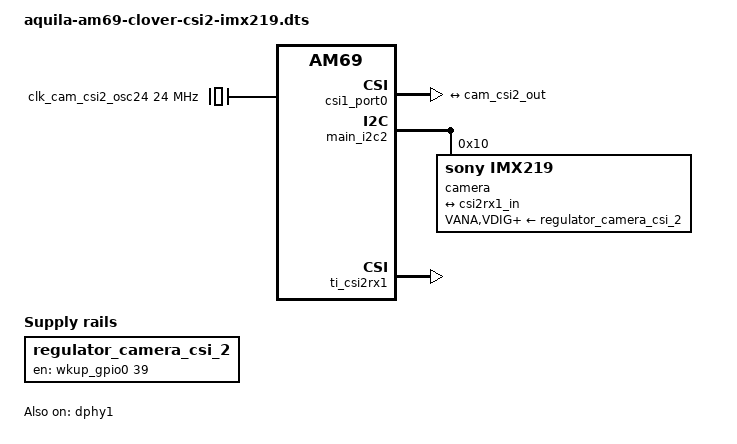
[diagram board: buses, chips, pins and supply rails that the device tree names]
// SPDX-License-Identifier: GPL-2.0-or-later OR MIT
/*
 * Aquila AM69 Clover CSI2 IMX219
 *
 */

/dts-v1/;
/plugin/;

#include <dt-bindings/gpio/gpio.h>
#include <dt-bindings/media/video-interfaces.h>

/ {
	compatible = "toradex,aquila-am69";
};

&{/} {
	clk_cam_csi2_osc24: clk-cam-csi2-osc24 {
		compatible = "fixed-clock";
		#clock-cells = <0>;
		clock-frequency = <24000000>;
	};

	regulator_camera_csi_2: regulator-camera-csi-2 {
		compatible = "regulator-fixed";
		pinctrl-names = "default";
		pinctrl-0 = <&pinctrl_gpio_16_csi_2>;
		/* Aquila GPIO_12_CSI_2 - Camera Connector 24 */
		gpio = <&wkup_gpio0 39 GPIO_ACTIVE_HIGH>;
		enable-active-high;
		regulator-name = "V_CSI2";
		startup-delay-us = <5000>;
	};
};

&csi1_port0 {
	status = "okay";

	csi2rx1_in: endpoint {
		remote-endpoint = <&cam_csi2_out>;
		bus-type = <MEDIA_BUS_TYPE_CSI2_DPHY>;
		clock-lanes = <0>;
		data-lanes = <1 2>;
	};
};

&dphy1 {
	status = "okay";
};

/* Aquila I2C_5_CSI2 */
&main_i2c2 {
	#address-cells = <1>;
	#size-cells = <0>;
	status = "okay";

	camera@10 {
		compatible = "sony,imx219";
		reg = <0x10>;
		clocks = <&clk_cam_csi2_osc24>;
		clock-names = "xclk";
		VANA-supply = <&regulator_camera_csi_2>;
		VDIG-supply = <&regulator_camera_csi_2>;
		VDDL-supply = <&regulator_camera_csi_2>;

		port {
			cam_csi2_out: endpoint {
				remote-endpoint = <&csi2rx1_in>;
				clock-lanes = <0>;
				data-lanes = <1 2>;
				link-frequencies = /bits/ 64 <456000000>;
			};
		};
	};
};

&ti_csi2rx1 {
	status = "okay";
};
